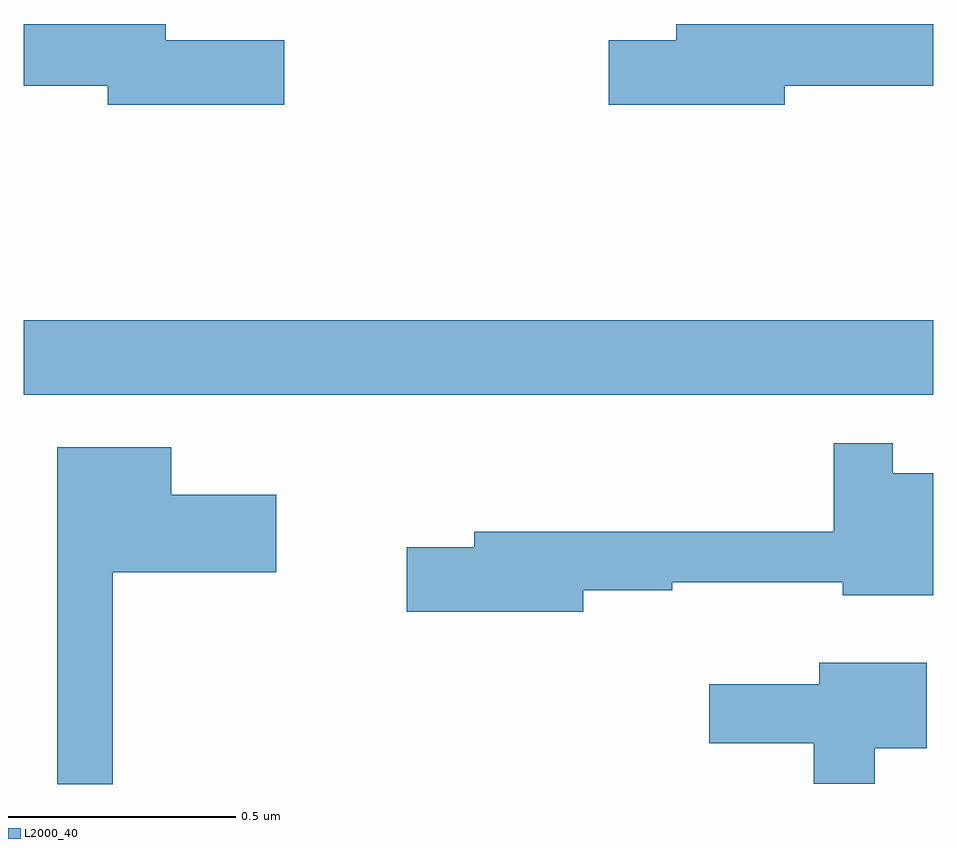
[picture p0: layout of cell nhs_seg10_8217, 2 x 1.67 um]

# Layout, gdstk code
import gdstk
lib = gdstk.Library(unit=1e-6, precision=1e-09)
def R(c, l, rs):  # rectangles x0, y0, x1, y1
    for r in rs: c.add(gdstk.rectangle(r[:2], r[2:], *l))
def P(c, l, *ps):  # polygons
    for p in ps: c.add(gdstk.Polygon(p, *l))
L2000_40 = (2000, 40)

nhs_seg10_8217 = lib.new_cell('nhs_seg10_8217')
R(nhs_seg10_8217, L2000_40, [(214,1260.356,216,1260.52)])
P(nhs_seg10_8217, L2000_40, [(215.674,1261.036),(216,1261.036),(216,1261.172),(215.435,1261.172),(215.435,1261.136),(215.286,1261.136),(215.286,1260.994),(215.674,1260.994)],
  [(214.573,1261.136),(214.312,1261.136),(214.312,1261.172),(214,1261.172),(214,1261.036),(214.184,1261.036),(214.184,1260.994),(214.573,1260.994)],
  [(215.23,1259.926),(215.426,1259.926),(215.426,1259.944),(215.801,1259.944),(215.801,1259.915),(216,1259.915),(216,1260.184),(215.911,1260.184),(215.911,1260.25),(215.782,1260.25),(215.782,1260.055),(214.991,1260.055),(214.991,1260.021),(214.842,1260.021),(214.842,1259.879),(215.23,1259.879)],
  [(214.195,1259.966),(214.555,1259.966),(214.555,1260.136),(214.324,1260.136),(214.324,1260.241),(214.073,1260.241),(214.073,1259.5),(214.195,1259.5)],
  [(215.872,1259.579),(215.986,1259.579),(215.986,1259.767),(215.75,1259.767),(215.75,1259.719),(215.508,1259.719),(215.508,1259.59),(215.738,1259.59),(215.738,1259.501),(215.872,1259.501)])

lib.write_gds('nhs_seg10_8217.gds')
